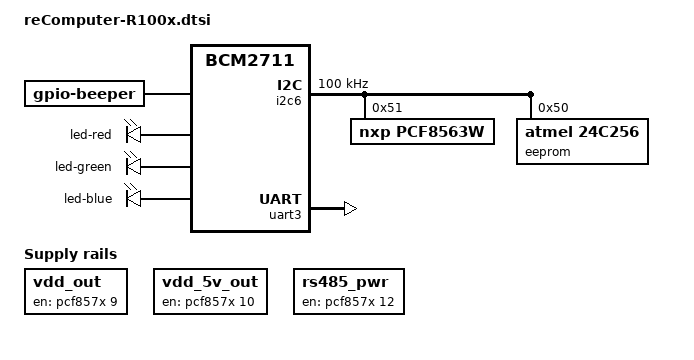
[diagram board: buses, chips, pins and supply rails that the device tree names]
/*
 * Copyright (C) 2021 Seeed Studio
 * ruiqian <ruiqian.tang@seeed.cc>
 *
 * MIT License
 *
 */

 / {
	compatible = "brcm,bcm2835", "brcm,bcm2708", "brcm,bcm2709", "brcm,bcm2711";

	fragment@1a {
		target = <&i2c6>;
		__overlay__ {
			status = "okay";
			clock-frequency = <100000>;
			#address-cells = <1>;
			#size-cells = <0>;
			
			pcf8563w@51 {
				compatible = "nxp,pcf8563w";
				reg = <0x51>;
				reset-source;
				/* 0 = 4096Hz, 1 = 64Hz, 2 = 1Hz, 3 = 1/60Hz */
				timer-frequency = <0x02>;
				/* Timeout count, max 255 min 2*/
				default-timeout =  <120>;
				min-hw-heartbeat-ms = <2000>;
			};

			eeprom@50 {
				compatible = "atmel,24c256";
				reg = <0x50>;
			};
		};
	};

	fragment@1b {
		target = <&uart2>;
		__overlay__ {
			label = "RS485_1";
			linux,rs485-enabled-at-boot-time;
		};
	};

	fragment@1c {
		target = <&uart3>;
		__overlay__ {
			label = "RS485_2";
			linux,rs485-enabled-at-boot-time;
			status = "okay";
		};
	};

	fragment@1f {
		target = <&leds>;
		__overlay__ {
			compatible = "gpio-leds";

			led_red: led_red {
				label = "led-red";
				linux,default-trigger = "default-off";
				gpios = LED_RED_PINS;// <&pcf857x 5 GPIO_ACTIVE_LOW>;
				default-state = "off";
				status = "okay";
			};
			
			led_green: led_green {
				label = "led-green";
				linux,default-trigger = "default-off";
				gpios = LED_GREEN_PINS;
				default-state = "off";
				status = "okay";
			};

			led_blue: led_blue {
				label = "led-blue";
				linux,default-trigger = "default-off";
				gpios = LED_BLUE_PINS;
				default-state = "off";
				status = "okay";
			};
		};
	};

	fragment@10 {
		target-path="/";
		__overlay__ {
			beeper: beeper {
				label = "beeper";
				compatible = "gpio-beeper";
				gpios = LED_BEEPER_PINS;
				status = "okay";
			};
		};
	};

	fragment@11 {
		target-path="/";
		__overlay__ {

			vdd_out:vdd_out {
				compatible = "regulator-fixed";
				regulator-name = "vdd-out";
				gpio = <&pcf857x 9 GPIO_ACTIVE_HIGH>;
				enable-active-high;
				regulator-boot-on;
				regulator-always-on;
			};

			vdd_5v_out:vdd_5v_out {
				compatible = "regulator-fixed";
				regulator-name = "vdd-5v-out";
				gpios = <&pcf857x 10 GPIO_ACTIVE_HIGH>;
				enable-active-high;
				regulator-boot-on;
				regulator-always-on;
			};

			rs485_pwr:rs485_pwr {
				compatible = "regulator-fixed";
				regulator-name = "rs485-pwr";
				gpio = <&pcf857x 12 GPIO_ACTIVE_HIGH>;
				enable-active-high;
				regulator-boot-on;
				regulator-always-on;
			};
		};
	};
};	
